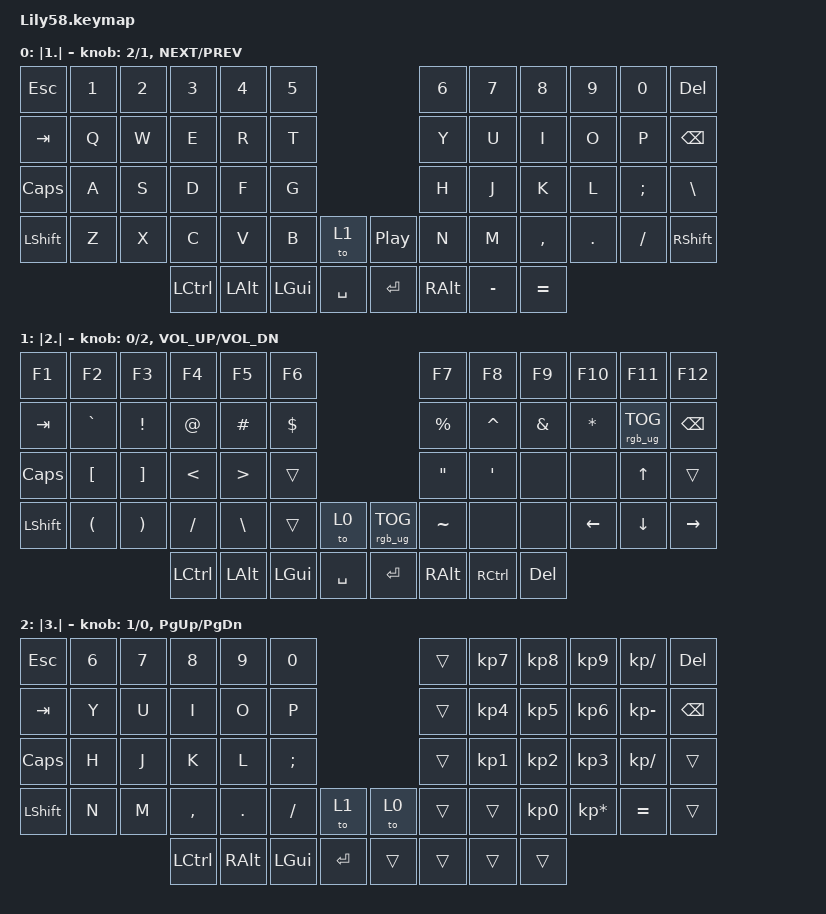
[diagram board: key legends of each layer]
/*
 * Copyright (c) 2020 The ZMK Contributors
 *
 * SPDX-License-Identifier: MIT
 */

#include <behaviors.dtsi>
#include <dt-bindings/zmk/bt.h>
#include <dt-bindings/zmk/ext_power.h>
#include <dt-bindings/zmk/keys.h>
#include <dt-bindings/zmk/rgb.h>

/ {
    behaviors {
        
        rgb_encoder: rgb_encoder {  
            compatible = "zmk,behavior-sensor-rotate-var";         
            #sensor-binding-cells = <2>;
            bindings = <&to>, <&to>;
        };
        encoder_2: encoder_2 {
            compatible = "zmk,behavior-sensor-rotate-var";
            #sensor-binding-cells = <2>;
            bindings = <&to>, <&to>;
        };
        gatillo_3: gatillo_3 {
            compatible = "zmk,behavior-sensor-rotate-var";
            #sensor-binding-cells = <2>;
            bindings = <&to>, <&to>;
        };
    };

    keymap {
        compatible = "zmk,keymap";
        
        default_layer {
            display-name= "|1.|";
    // ------------------------------------------------------------------------------------------------------------
// |  ESC  |  1  |  2  |  3   |  4   |  5   |                   |  6  |  7  |  8   |  9   |   0   | DEL   |
// |  TAB  |  Q  |  W  |  E   |  R   |  T   |                   |  Y  |  U  |  I   |  O   |   P   | BSPC  |
// |  CAPS |  A  |  S  |  D   |  F   |  G   |                   |  H  |  J  |  K   |  L   |   ;   |   \   |
// | SHIFT |  Z  |  X  |  C   |  V   |  B   |  RAISE |  | RGB_ON|  N  |  M  |  ,   |  .   |   /   | SHIFT |
//                     | CTRL | ALT  | GUI  |  SPACE |  | ENTER | ALT |  =  | CTRL |
            bindings = <
&kp ESC    &kp N1    &kp N2    &kp N3    &kp N4   &kp N5                        &kp N6    &kp N7      &kp N8     &kp N9     &kp N0      &kp DEL
&kp TAB    &kp Q     &kp W     &kp E     &kp R    &kp T                         &kp Y     &kp U       &kp I      &kp O      &kp P       &kp BSPC
&kp CAPS   &kp A     &kp S     &kp D     &kp F    &kp G                         &kp H     &kp J       &kp K      &kp L      &kp SEMI    &kp BSLH
&kp LSHFT  &kp Z     &kp X     &kp C     &kp V    &kp B     &to 1     &kp C_PP  &kp N     &kp M       &kp COMMA  &kp DOT    &kp FSLH    &kp RSHFT
                               &kp LCTRL &kp LALT &kp LGUI  &kp SPACE &kp RET   &kp RALT  &kp MINUS   &kp EQUAL
            >;
 // &inc_dec_kp C_NEXT C_PREV
            sensor-bindings = <&rgb_encoder 2 1 &inc_dec_kp C_NEXT C_PREV>;
        };

        lower_layer {
            display-name= "|2.|";
// ------------------------------------------------------------------------------------------------------------
// |  F1   |  F2 |  F3 |  F4  |  F5  |  F6  |                   |  F7  |  F8   |  F9   |  F10 |  F11  |  F12  |
// |  TAB  |  `  |  !  |  @   |  #   |  $   |                   |  %   |  ^    |  &    |  *   | RGB_ON| BSPC  |
// |  CAPS |  [  |  ]  |  <   |  >   |      |                   |  "   |   '   |       |      |   ^   |       |
// | SHIFT |  (  |  )  |  /   |  \   |      |  DEFAU |  | LOWER |  ~   |  _    |  +    |   <- |   v   |  ->   |
//                     | CTRL | ALT  | GUI  |  SPACE |  | ENTER | ALT  |  _    | CTRL  |
            bindings = <
&kp F1     &kp F2    &kp F3   &kp F4    &kp F5    &kp F6                                &kp F7    &kp F8    &kp F9   &kp F10   &kp F11         &kp F12
&kp TAB    &kp GRAVE &kp EXCL &kp AT    &kp HASH  &kp DOLLAR                            &kp PRCNT &kp CARET &kp AMPS &kp ASTRK &rgb_ug RGB_TOG &kp BSPC
&kp CAPS   &kp LBKT  &kp RBKT &kp LT    &kp GT    &trans                                &kp DQT   &kp SQT   &none    &none     &kp UP          &trans
&kp LSHFT  &kp LPAR  &kp RPAR &kp FSLH  &kp BSLH  &trans     &to 0     &rgb_ug RGB_TOG  &kp TILDE &none     &none    &kp LEFT  &kp DOWN        &kp RIGHT
                              &kp LCTRL &kp LALT  &kp LGUI   &kp SPACE &kp RET &kp RALT &kp RCTRL &kp DEL
            >;

            sensor-bindings = <&encoder_2 0 2 &inc_dec_kp C_VOL_UP C_VOL_DN>;
        };
        
        adjust_layer {
            display-name= "|3.|";
// ------------------------------------------------------------------------------------------------------------
// |  ESC  |  6  |  7  |  8   |  9   |  0   |                   |      |   7   |  8   |   9   |   +   |
// |  TAB  |  Y  |  U  |  I   |  O   |  P   |                   |  6   |   4   |  5   |   6   |   -   |
// |  CAPS |  H  |  J  |  K   |  L   |  ;   |                   |      |   1   |  2   |   3   |
// | SHIFT |  N  |  M  |  ,   |  .   |  /   |   PREV |  |  NEXT |  +   |   -   |  0   |   *   |   =   |
//                     | CTRL | ALT  | GUI  |  SPACE |  |       |      |       |      |
            bindings = <
&kp ESC    &kp N6    &kp N7    &kp N8     &kp N9     &kp N0                       &trans    &kp KP_N7 &kp KP_N8 &kp KP_N9       &kp KP_SLASH &kp DEL 
&kp TAB    &kp Y     &kp U     &kp I      &kp O      &kp P                        &trans    &kp KP_N4 &kp KP_N5 &kp KP_N6       &kp KP_MINUS &kp BSPC
&kp CAPS   &kp H     &kp J     &kp K      &kp L      &kp SEMI                     &trans    &kp KP_N1 &kp KP_N2 &kp KP_N3       &kp KP_SLASH &trans
&kp LSHFT  &kp N     &kp M     &kp COMMA  &kp DOT    &kp FSLH  &to 1     &to 0    &trans    &trans    &kp KP_N0 &kp KP_MULTIPLY &kp EQUAL    &trans
                               &kp LCTRL &kp RALT    &kp LGUI  &kp RET   &trans   &trans    &trans    &trans
            >;

            sensor-bindings = <&gatillo_3 1 0 &inc_dec_kp PG_UP PG_DN>;
        };

        extra1 { status = "reserved"; };

        extra2 { status = "reserved"; };

        extra3 { status = "reserved"; };

        extra4 { status = "reserved"; };

        extra5 { status = "reserved"; };
    };
};
